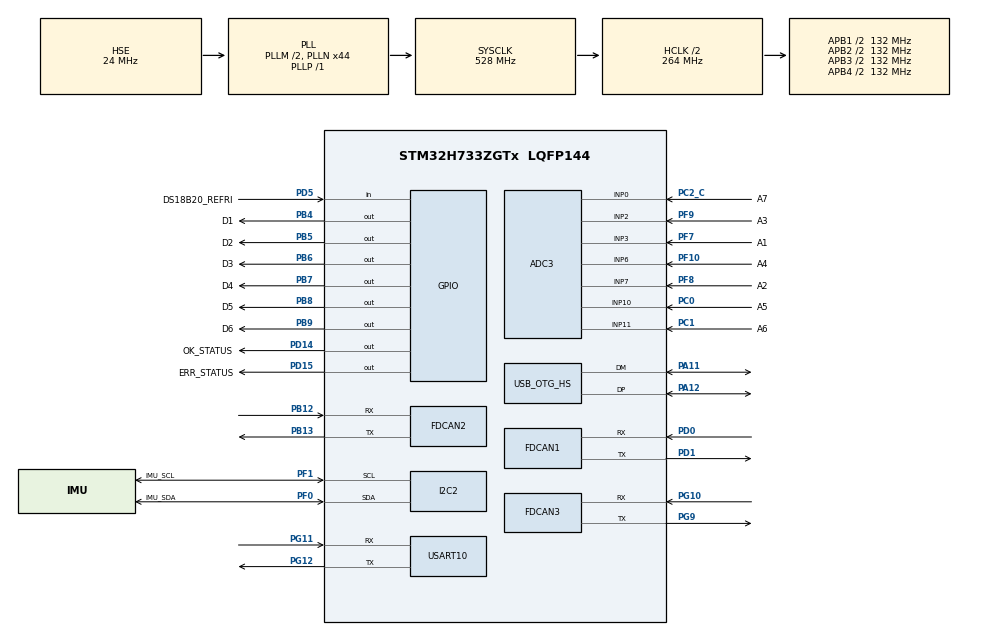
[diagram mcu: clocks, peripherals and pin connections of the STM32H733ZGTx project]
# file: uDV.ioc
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ADC3.Channel-0\#ChannelRegularConversion=ADC_CHANNEL_3
ADC3.NbrOfConversionFlag=1
ADC3.OffsetNumber-0\#ChannelRegularConversion=ADC_OFFSET_NONE
ADC3.OffsetSign-0\#ChannelRegularConversion=ADC3_OFFSET_SIGN_NEGATIVE
ADC3.Rank-0\#ChannelRegularConversion=1
ADC3.SamplingTime-0\#ChannelRegularConversion=ADC3_SAMPLETIME_2CYCLES_5
FDCAN1.AutoRetransmission=ENABLE
FDCAN1.CalculateBaudRateNominal=500000
FDCAN1.CalculateTimeBitNominal=2000
FDCAN1.CalculateTimeQuantumNominal=250.0
FDCAN1.ExtFiltersNbr=1
FDCAN1.NominalPrescaler=6
FDCAN1.NominalTimeSeg1=2
FDCAN1.NominalTimeSeg2=5
FDCAN1.RxBuffersNbr=0
FDCAN1.RxFifo0ElmtsNbr=32
FDCAN1.RxFifo1ElmtsNbr=32
FDCAN1.StdFiltersNbr=1
FDCAN1.TxBuffersNbr=0
FDCAN1.TxEventsNbr=0
FDCAN1.TxFifoQueueElmtsNbr=32
FDCAN2.CalculateBaudRateNominal=500000
FDCAN2.CalculateTimeBitNominal=2000
FDCAN2.CalculateTimeQuantumNominal=250.0
FDCAN2.ExtFiltersNbr=1
FDCAN2.FrameFormat=FDCAN_FRAME_CLASSIC
FDCAN2.MessageRAMOffset=640
FDCAN2.NominalPrescaler=6
FDCAN2.NominalTimeSeg1=2
FDCAN2.NominalTimeSeg2=5
FDCAN2.RxBuffersNbr=0
FDCAN2.RxFifo0ElmtSize=FDCAN_DATA_BYTES_8
FDCAN2.RxFifo0ElmtsNbr=16
FDCAN2.RxFifo1ElmtsNbr=16
FDCAN2.StdFiltersNbr=1
FDCAN2.TxEventsNbr=0
FDCAN2.TxFifoQueueElmtsNbr=32
FDCAN3.CalculateBaudRateNominal=500000
FDCAN3.CalculateTimeBitNominal=2000
FDCAN3.CalculateTimeQuantumNominal=250.0
FDCAN3.ExtFiltersNbr=1
FDCAN3.MessageRAMOffset=1280
FDCAN3.NominalPrescaler=6
FDCAN3.NominalTimeSeg1=2
FDCAN3.NominalTimeSeg2=5
FDCAN3.RxFifo0ElmtsNbr=16
FDCAN3.RxFifo1ElmtsNbr=16
FDCAN3.StdFiltersNbr=1
FDCAN3.TxFifoQueueElmtsNbr=32
FREERTOS.Tasks01=defaultTask,24,3000,StartDefaultTask,Default,NULL,Dynamic,NULL,NULL
FREERTOS.configTOTAL_HEAP_SIZE=40960
I2C2.Speed=100
I2C2.Timing=0x20A0B1FF
Mcu.Family=STM32H7
Mcu.Name=STM32H733ZGTx
Mcu.Package=LQFP144
NVIC.FDCAN1_IT0_IRQn=true\:5\:0\:false\:false\:true\:true\:true\:true\:true
NVIC.FDCAN1_IT1_IRQn=true\:5\:0\:false\:false\:true\:true\:true\:true\:true
NVIC.FDCAN2_IT1_IRQn=true\:5\:0\:false\:false\:true\:true\:true\:true\:true
NVIC.FDCAN3_IT0_IRQn=true\:5\:0\:false\:false\:true\:true\:true\:true\:true
NVIC.OTG_HS_IRQn=true\:5\:0\:false\:false\:true\:true\:false\:true\:true
NVIC.PriorityGroup=NVIC_PRIORITYGROUP_4
NVIC.TIM1_UP_IRQn=true\:15\:0\:false\:false\:true\:false\:false\:true\:true
NVIC.TIM2_IRQn=true\:5\:0\:false\:false\:true\:true\:true\:true\:true
NVIC.TimeBase=TIM1_UP_IRQn
NVIC.TimeBaseIP=TIM1
PA11.Mode=Device_Only_FS
PA11.Signal=USB_OTG_HS_DM
PA12.Mode=Device_Only_FS
PA12.Signal=USB_OTG_HS_DP
PA13(JTMS/SWDIO).Mode=Serial_Wire
PA13(JTMS/SWDIO).Signal=DEBUG_JTMS-SWDIO
PA14(JTCK/SWCLK).Mode=Serial_Wire
PA14(JTCK/SWCLK).Signal=DEBUG_JTCK-SWCLK
PB12.Mode=FDCAN_Activate
PB12.Signal=FDCAN2_RX
PB13.Mode=FDCAN_Activate
PB13.Signal=FDCAN2_TX
PB4(NJTRST).GPIO_Label=D1
PB4(NJTRST).Signal=GPIO_Output
PB5.GPIO_Label=D2
PB5.Signal=GPIO_Output
PB6.GPIO_Label=D3
PB6.Signal=GPIO_Output
PB7.GPIO_Label=D4
PB7.Signal=GPIO_Output
PB8.GPIO_Label=D5
PB8.Signal=GPIO_Output
PB9.GPIO_Label=D6
PB9.Signal=GPIO_Output
PC0.GPIO_Label=A5
PC0.Signal=ADCx_INP10
PC1.GPIO_Label=A6
PC1.Signal=ADCx_INP11
PC2_C.GPIO_Label=A7
PC2_C.Mode=IN0-Single-Ended
PC2_C.Signal=ADC3_INP0
PD0.Mode=FDCAN_Activate
PD0.Signal=FDCAN1_RX
PD1.Mode=FDCAN_Activate
PD1.Signal=FDCAN1_TX
PD14.GPIO_Label=OK_STATUS
PD14.Signal=GPIO_Output
PD15.GPIO_Label=ERR_STATUS
PD15.Signal=GPIO_Output
PD5.GPIO_Label=DS18B20_REFRI
PD5.Signal=GPIO_Input
PF0.GPIO_Label=IMU_SDA
PF0.GPIO_Pu=GPIO_PULLUP
PF0.GPIO_Speed=GPIO_SPEED_FREQ_VERY_HIGH
PF0.Mode=I2C
PF0.Signal=I2C2_SDA
PF1.GPIO_Label=IMU_SCL
PF1.GPIO_Pu=GPIO_PULLUP
PF1.GPIO_Speed=GPIO_SPEED_FREQ_VERY_HIGH
PF1.Mode=I2C
PF1.Signal=I2C2_SCL
PF10.GPIO_Label=A4
PF10.Mode=IN6-Single-Ended
PF10.Signal=ADC3_INP6
PF7.GPIO_Label=A1
PF7.Mode=IN3-Single-Ended
PF7.Signal=ADC3_INP3
PF8.GPIO_Label=A2
PF8.Signal=SharedAnalog_PF8
PF9.GPIO_Label=A3
PF9.Mode=IN2-Single-Ended
PF9.Signal=ADC3_INP2
PG10.Mode=FDCAN_Activate
PG10.Signal=FDCAN3_RX
PG11.Mode=Asynchronous
PG11.Signal=USART10_RX
PG12.Mode=Asynchronous
PG12.Signal=USART10_TX
PG9.Mode=FDCAN_Activate
PG9.Signal=FDCAN3_TX
PH0-OSC_IN.Mode=HSE-External-Oscillator
PH0-OSC_IN.Signal=RCC_OSC_IN
PH1-OSC_OUT.Mode=HSE-External-Oscillator
PH1-OSC_OUT.Signal=RCC_OSC_OUT
ProjectManager.HeapSize=0x200
ProjectManager.StackSize=0x400
ProjectManager.TargetToolchain=Makefile
RCC.ADCCLockSelection=RCC_ADCCLKSOURCE_PLL2
RCC.ADCFreq_Value=48000000
RCC.APB1Freq_Value=132000000
RCC.APB2Freq_Value=132000000
RCC.APB3Freq_Value=132000000
RCC.APB4Freq_Value=132000000
RCC.CECCLockSelection=RCC_CECCLKSOURCE_LSI
RCC.CKPERSourceSelection=RCC_CLKPSOURCE_HSI
RCC.CSI_VALUE=4000000
RCC.CortexFreq_Value=528000000
RCC.Cortex_DivARG=SystemCoreClock/1000
RCC.D1PPRE=RCC_APB3_DIV2
RCC.D2PPRE1=RCC_APB1_DIV2
RCC.D2PPRE2=RCC_APB2_DIV2
RCC.D3PPRE=RCC_APB4_DIV2
RCC.DFSDMCLockSelection=RCC_DFSDM1CLKSOURCE_D2PCLK1
RCC.DIVM1=2
RCC.DIVM2=2
RCC.DIVN1=44
RCC.DIVN2=16
RCC.DIVP1=1
RCC.DIVP2=4
RCC.DIVQ1=4
RCC.DIVR2=6
RCC.EXTERNAL_CLOCK_VALUE=12288000
RCC.FDCANCLockSelection=RCC_FDCANCLKSOURCE_HSE
RCC.FMCCLockSelection=RCC_FMCCLKSOURCE_D1HCLK
RCC.HCLKFreq_Value=264000000
RCC.HPRE=RCC_HCLK_DIV2
RCC.HSE_VALUE=24000000
RCC.HSI48_VALUE=48000000
RCC.HSI_VALUE=64000000
RCC.I2C123CLockSelection=RCC_I2C1235CLKSOURCE_D2PCLK1
RCC.I2C4CLockSelection=RCC_I2C4CLKSOURCE_D3PCLK1
RCC.LPTIM1CLockSelection=RCC_LPTIM1CLKSOURCE_D2PCLK1
RCC.LPTIM2CLockSelection=RCC_LPTIM2CLKSOURCE_D3PCLK1
RCC.LPTIM345CLockSelection=RCC_LPTIM345CLKSOURCE_D3PCLK1
RCC.LPUART1CLockSelection=RCC_LPUART1CLKSOURCE_D3PCLK1
RCC.LSE_VALUE=32768
RCC.PLL2FRACN=0
RCC.PLL3FRACN=0
RCC.PLLFRACN=0
RCC.PLLSourceVirtual=RCC_PLLSOURCE_HSE
RCC.QSPICLockSelection=RCC_OSPICLKSOURCE_D1HCLK
RCC.RCC_MCO1Source=RCC_MCO1SOURCE_HSI
RCC.RCC_MCO2Source=RCC_MCO2SOURCE_SYSCLK
RCC.RNGCLockSelection=RCC_RNGCLKSOURCE_HSI48
RCC.SAI1CLockSelection=RCC_SAI1CLKSOURCE_PLL
RCC.SAI4ACLockSelection=RCC_SAI4ACLKSOURCE_PLL
RCC.SAI4BCLockSelection=RCC_SAI4BCLKSOURCE_PLL
RCC.SDMMC1CLockSelection=RCC_SDMMCCLKSOURCE_PLL2
RCC.SPDIFCLockSelection=RCC_SPDIFRXCLKSOURCE_PLL
RCC.SPI123CLockSelection=RCC_SPI123CLKSOURCE_PLL
RCC.SPI6CLockSelection=RCC_SPI6CLKSOURCE_D3PCLK1
RCC.SWPCLockSelection=RCC_SWPMI1CLKSOURCE_D2PCLK1
RCC.SYSCLKFreq_VALUE=528000000
RCC.SYSCLKSource=RCC_SYSCLKSOURCE_PLLCLK
RCC.Spi45ClockSelection=RCC_SPI45CLKSOURCE_D2PCLK1
RCC.USART16CLockSelection=RCC_USART16910CLKSOURCE_D2PCLK2
RCC.USART234578CLockSelection=RCC_USART234578CLKSOURCE_D2PCLK1
RCC.USBCLockSelection=RCC_USBCLKSOURCE_HSI48
RCC.USBFreq_Value=48000000
SH.ADCx_INP10.0=ADC3_INP10,IN10-Single-Ended
SH.ADCx_INP11.0=ADC3_INP11,IN11-Single-Ended
SH.SharedAnalog_PF8.0=ADC3_INN3
SH.SharedAnalog_PF8.1=ADC3_INP7,IN7-Single-Ended
TIM2.AutoReloadPreload=TIM_AUTORELOAD_PRELOAD_ENABLE
TIM2.Period=2499
TIM2.Prescaler=263
USART10.VirtualMode-Asynchronous=VM_ASYNC
USB_DEVICE.CLASS_NAME_HS=CDC
USB_DEVICE.VirtualMode=Cdc
USB_DEVICE.VirtualModeHS=Cdc_HS
USB_OTG_HS.VirtualMode-Device_Only_FS=Device_Only_FS
VP_CORDIC_VS_CORDIC.Mode=CORDIC_Activate
VP_FREERTOS_VS_CMSIS_V2.Mode=CMSIS_V2
VP_MEMORYMAP_VS_MEMORYMAP.Mode=CurAppReg
VP_SYS_VS_tim1.Mode=TIM1
VP_TIM2_VS_ClockSourceINT.Mode=Internal
VP_USB_DEVICE_VS_USB_DEVICE_CDC_HS.Mode=CDC_HS
board=custom

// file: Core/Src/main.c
/* USER CODE BEGIN Header */
/**
  ******************************************************************************
  * @file           : main.c
  * @brief          : Main program body
  ******************************************************************************
  * @attention
  *
  * Copyright (c) 2026 STMicroelectronics.
  * All rights reserved.
  *
  * This software is licensed under terms that can be found in the LICENSE file
  * in the root directory of this software component.
  * If no LICENSE file comes with this software, it is provided AS-IS.
  *
  ******************************************************************************
  */
/* USER CODE END Header */
#include "main.h"
#include "cmsis_os.h"
#include "adc.h"
#include "cordic.h"
#include "fdcan.h"
#include "i2c.h"
#include "usart.h"
#include "tim.h"
#include "usb_device.h"
#include "gpio.h"

/* USER CODE BEGIN Includes */
#include "safety_monitor.h"
/* USER CODE END Includes */

void SystemClock_Config(void);
void MX_FREERTOS_Init(void);

int main(void)
{

  /* MCU Configuration--------------------------------------------------------*/

  /* Reset of all peripherals, Initializes the Flash interface and the Systick. */
  HAL_Init();

  /* USER CODE BEGIN Init */
  // Zero RAM_D1 BSS section (startup only clears DTCMRAM .bss)
  {
    extern uint8_t _sram_d1_bss, _eram_d1_bss;
    uint8_t *p = &_sram_d1_bss;
    while (p < &_eram_d1_bss) *p++ = 0;
  }
  /* USER CODE END Init */

  /* Configure the system clock */
  SystemClock_Config();

  /* Initialize all configured peripherals */
  MX_GPIO_Init();
  MX_FDCAN1_Init();
  MX_FDCAN2_Init();
  MX_FDCAN3_Init();
  MX_ADC3_Init();
  MX_I2C2_Init();
  MX_CORDIC_Init();
  MX_TIM2_Init();
  MX_USART10_UART_Init();
  /* USER CODE BEGIN 2 */

  /* ADC3 self-calibration (single-ended offset). Mandatory on the H7 before any
   * conversion or the EBS tank-pressure reads (PRES_1/2_IN) carry a raw
   * offset/gain error. Done here while the ADC is still disabled (pre-scheduler,
   * before any HAL_ADC_Start). Non-fatal: a failed calibration must not brick
   * boot — the safety FSM still comes up and holds EBS engaged. */
  if (HAL_ADCEx_Calibration_Start(&hadc3, ADC_CALIB_OFFSET, ADC_SINGLE_ENDED) != HAL_OK)
  {
    /* leave uncalibrated rather than hang; pressure reads will be less accurate */
  }

  /* Reboot reset-cause detection (idea from fix/17). A reset caused by
   * the IWDG means a prior fatal hang/lockup. Immediately assert the
   * safe state — EBS fired + SDC open (confirmed polarity: LOW = fire,
   * D4 LOW = SDC open; both are the fail-safe power-on level) — and tell
   * the safety monitor to come up LATCHED in emergency rather than
   * re-arming into normal operation. GPIO is already configured as output
   * by MX_GPIO_Init() above. The reset flags persist across the reset, so
   * this is observed even though the IWDG itself is started later (in the
   * safety task). */
  if (__HAL_RCC_GET_FLAG(RCC_FLAG_IWDG1RST) != RESET)
  {
    HAL_GPIO_WritePin(D1_GPIO_Port, D1_Pin, GPIO_PIN_RESET); /* fire EBS  */
    HAL_GPIO_WritePin(D2_GPIO_Port, D2_Pin, GPIO_PIN_RESET); /* fire EBS  */
    HAL_GPIO_WritePin(D4_GPIO_Port, D4_Pin, GPIO_PIN_RESET); /* open SDC  */
    safety_flag_watchdog_reset();
  }
  /* Clear all reset-cause flags so the next boot starts clean (otherwise
   * the IWDG flag stays set and every reboot would look watchdog-caused). */
  __HAL_RCC_CLEAR_RESET_FLAGS();
  /* USER CODE END 2 */

  /* Init scheduler */
  osKernelInitialize();  /* Call init function for freertos objects (in cmsis_os2.c) */
  MX_FREERTOS_Init();

  /* Start scheduler */
  osKernelStart();

  /* We should never get here as control is now taken by the scheduler */

  /* Infinite loop */
  while (1)
  {

  }
}

void SystemClock_Config(void)
{
  RCC_OscInitTypeDef RCC_OscInitStruct = {0};
  RCC_ClkInitTypeDef RCC_ClkInitStruct = {0};

  /** Supply configuration update enable
  */
  HAL_PWREx_ConfigSupply(PWR_LDO_SUPPLY);

  /** Configure the main internal regulator output voltage
  */
  __HAL_PWR_VOLTAGESCALING_CONFIG(PWR_REGULATOR_VOLTAGE_SCALE0);

  while(!__HAL_PWR_GET_FLAG(PWR_FLAG_VOSRDY)) {}

  /** Initializes the RCC Oscillators according to the specified parameters
  * in the RCC_OscInitTypeDef structure.
  */
  RCC_OscInitStruct.OscillatorType = RCC_OSCILLATORTYPE_HSI48|RCC_OSCILLATORTYPE_HSE;
  RCC_OscInitStruct.HSEState = RCC_HSE_ON;
  RCC_OscInitStruct.HSI48State = RCC_HSI48_ON;
  RCC_OscInitStruct.PLL.PLLState = RCC_PLL_ON;
  RCC_OscInitStruct.PLL.PLLSource = RCC_PLLSOURCE_HSE;
  RCC_OscInitStruct.PLL.PLLM = 2;
  RCC_OscInitStruct.PLL.PLLN = 44;
  RCC_OscInitStruct.PLL.PLLP = 1;
  RCC_OscInitStruct.PLL.PLLQ = 4;
  RCC_OscInitStruct.PLL.PLLR = 2;
  RCC_OscInitStruct.PLL.PLLRGE = RCC_PLL1VCIRANGE_3;
  RCC_OscInitStruct.PLL.PLLVCOSEL = RCC_PLL1VCOWIDE;
  RCC_OscInitStruct.PLL.PLLFRACN = 0;
  if (HAL_RCC_OscConfig(&RCC_OscInitStruct) != HAL_OK)
  {
    Error_Handler();
  }

  /** Initializes the CPU, AHB and APB buses clocks
  */
  RCC_ClkInitStruct.ClockType = RCC_CLOCKTYPE_HCLK|RCC_CLOCKTYPE_SYSCLK
                              |RCC_CLOCKTYPE_PCLK1|RCC_CLOCKTYPE_PCLK2
                              |RCC_CLOCKTYPE_D3PCLK1|RCC_CLOCKTYPE_D1PCLK1;
  RCC_ClkInitStruct.SYSCLKSource = RCC_SYSCLKSOURCE_PLLCLK;
  RCC_ClkInitStruct.SYSCLKDivider = RCC_SYSCLK_DIV1;
  RCC_ClkInitStruct.AHBCLKDivider = RCC_HCLK_DIV2;
  RCC_ClkInitStruct.APB3CLKDivider = RCC_APB3_DIV2;
  RCC_ClkInitStruct.APB1CLKDivider = RCC_APB1_DIV2;
  RCC_ClkInitStruct.APB2CLKDivider = RCC_APB2_DIV2;
  RCC_ClkInitStruct.APB4CLKDivider = RCC_APB4_DIV2;

  if (HAL_RCC_ClockConfig(&RCC_ClkInitStruct, FLASH_LATENCY_3) != HAL_OK)
  {
    Error_Handler();
  }
}

void HAL_TIM_PeriodElapsedCallback(TIM_HandleTypeDef *htim)
{
  if (htim->Instance == TIM1)
  {
    HAL_IncTick();
  }
  /* USER CODE BEGIN Callback 1 */
  if (htim->Instance == TIM2)
  {
    extern osSemaphoreId_t imuSemHandle;
    if (imuSemHandle != NULL)
    {
      osSemaphoreRelease(imuSemHandle);
    }
  }
  /* USER CODE END Callback 1 */
}

void Error_Handler(void)
{
  __disable_irq();
  while (1)
  {
  }
}

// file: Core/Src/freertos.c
/* USER CODE BEGIN Header */
/**
  ******************************************************************************
  * File Name          : freertos.c
  * Description        : Code for freertos applications
  ******************************************************************************
  * @attention
  *
  * Copyright (c) 2026 STMicroelectronics.
  * All rights reserved.
  *
  * This software is licensed under terms that can be found in the LICENSE file
  * in the root directory of this software component.
  * If no LICENSE file comes with this software, it is provided AS-IS.
  *
  ******************************************************************************
  */
/* USER CODE END Header */

#include "FreeRTOS.h"
#include "task.h"
#include "main.h"
#include "cmsis_os.h"

/* USER CODE BEGIN Includes */
#include "ros_task.h"

#include "imu_service.h"
#include "can_globals.h"
#include "i2c.h"
#include "cordic.h"
#include "tim.h"
#include "safety_monitor.h"
#include "dwt_time.h"
#include "imu_task.h"
/* USER CODE END Includes */

/* USER CODE BEGIN PD */
#define IMU_QUEUE_DEPTH 16   /* depth of imuQueueHandle (IMU task -> ROS task) */

/* ROS-task tuning macros moved to ros_task.c; dwt_micros() to dwt_time.c. */
/* USER CODE END PD */

/* USER CODE BEGIN Variables */
osThreadId_t imuTaskHandle;
const osThreadAttr_t imuTask_attributes = {
  .name = "imuTask",
  .stack_size = 2048 * 4,
  .priority = (osPriority_t) osPriorityAboveNormal,
};

osThreadId_t canTaskHandle;
const osThreadAttr_t canTask_attributes = {
  .name = "canTask",
  .stack_size = 1024 * 4,
  .priority = (osPriority_t) osPriorityAboveNormal,
};

/* Safety supervisor: highest app priority so it still runs (and refreshes
 * the IWDG / detects stalls) under load. Yields via osDelay each cycle. */
osThreadId_t safetyTaskHandle;
const osThreadAttr_t safetyTask_attributes = {
  .name = "safetyTask",
  .stack_size = 512 * 4,
  .priority = (osPriority_t) osPriorityHigh,
};

/* Application state machine (AS state machine + EBS init sequence). Loops
 * ~1 ms; monitored by the safety supervisor via SAFETY_TASK_APP. */
osThreadId_t appTaskHandle;
const osThreadAttr_t appTask_attributes = {
  .name = "appTask",
  .stack_size = 1024 * 4,
  .priority = (osPriority_t) osPriorityNormal,
};

/* ASSI status-LED renderer (assi_task.c): maps the AS mode set by app_task
 * onto UART commands to the Arduino LED bridge (see docs/ASSI_UART_BRIDGE.md).
 * Pure indication, no control role — lowest app priority. */
osThreadId_t assiTaskHandle;
const osThreadAttr_t assiTask_attributes = {
  .name = "assiTask",
  .stack_size = 512 * 4,
  .priority = (osPriority_t) osPriorityBelowNormal,
};

osMessageQueueId_t imuQueueHandle;
osMessageQueueId_t canRxQueueHandle;
osMessageQueueId_t resRxQueueHandle;
osMessageQueueId_t debugQueueHandle;
osSemaphoreId_t imuSemHandle;
/* USER CODE END Variables */
/* Definitions for defaultTask */
osThreadId_t defaultTaskHandle;
const osThreadAttr_t defaultTask_attributes = {
  .name = "defaultTask",
  .stack_size = 4096 * 4,
  .priority = (osPriority_t) osPriorityNormal,
};

/* USER CODE BEGIN FunctionPrototypes */
void StartImuTask(void *argument);
void StartCanTask(void *argument);
void StartAppTask(void *argument);   /* state machine, in app_task.cpp */
void StartAssiTask(void *argument);  /* ASSI LED renderer, in assi_task.c */
/* USER CODE END FunctionPrototypes */

void StartDefaultTask(void *argument);

extern void MX_USB_DEVICE_Init(void);
void MX_FREERTOS_Init(void); /* (MISRA C 2004 rule 8.1) */

void MX_FREERTOS_Init(void) {

  /* USER CODE BEGIN RTOS_SEMAPHORES */
  imuSemHandle = osSemaphoreNew(1, 0, NULL);
  /* USER CODE END RTOS_SEMAPHORES */

  /* USER CODE BEGIN RTOS_QUEUES */
  imuQueueHandle   = osMessageQueueNew(IMU_QUEUE_DEPTH, sizeof(imu_sample_t), NULL);
  canRxQueueHandle = osMessageQueueNew(32, sizeof(can_msg_t), NULL);
  resRxQueueHandle = osMessageQueueNew(8, sizeof(can_msg_t), NULL);
  debugQueueHandle = osMessageQueueNew(8, 128, NULL);
  /* USER CODE END RTOS_QUEUES */

  /* Create the thread(s) */
  /* creation of defaultTask */
  defaultTaskHandle = osThreadNew(StartDefaultTask, NULL, &defaultTask_attributes);

  /* USER CODE BEGIN RTOS_THREADS */
  imuTaskHandle = osThreadNew(StartImuTask, NULL, &imuTask_attributes);
  canTaskHandle = osThreadNew(StartCanTask, NULL, &canTask_attributes);
  safetyTaskHandle = osThreadNew(StartSafetyTask, NULL, &safetyTask_attributes);
  appTaskHandle = osThreadNew(StartAppTask, NULL, &appTask_attributes);
  assiTaskHandle = osThreadNew(StartAssiTask, NULL, &assiTask_attributes);
  /* USER CODE END RTOS_THREADS */

}

/* ROS service/subscription callbacks moved to ros_task.c */

void StartDefaultTask(void *argument)
{
  /* init code for USB_DEVICE */
  MX_USB_DEVICE_Init();
  /* USER CODE BEGIN StartDefaultTask */
  ros_task_run();   /* micro-ROS node; defined in ros_task.c; never returns */
  /* USER CODE END StartDefaultTask */
}

/* USER CODE BEGIN Application */

void vApplicationStackOverflowHook(TaskHandle_t xTask, char *pcTaskName)
{
  (void)xTask; (void)pcTaskName;
  // Fatal: fire the EBS (D1/D2 are the EBS actuators; LOW = fire, the
  // fail-safe level) and hang so the IWDG resets us into the latched
  // safe state.
  HAL_GPIO_WritePin(D1_GPIO_Port, D1_Pin, GPIO_PIN_RESET);
  HAL_GPIO_WritePin(D2_GPIO_Port, D2_Pin, GPIO_PIN_RESET);
  for (;;) {}
}

/* StartImuTask is defined in imu_task.c */
/* StartCanTask is defined in can_task.cpp (extern "C") */

/* USER CODE END Application */
